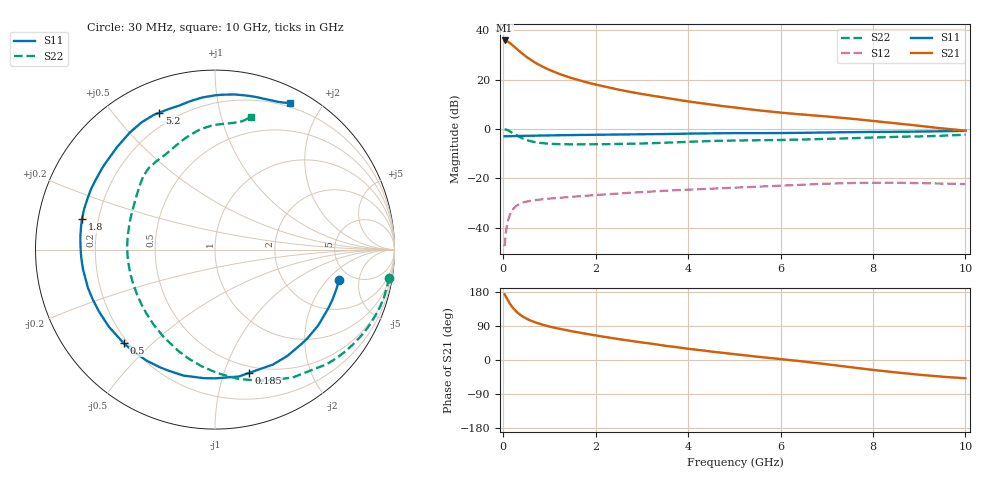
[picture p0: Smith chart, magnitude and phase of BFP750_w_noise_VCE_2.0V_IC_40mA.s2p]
! Infineon Technologies  Discrete & RF Semiconductors
! BFP750
! VCE =  2.0 V,  IC =  40 mA
! Common Emitter S-Parameters:  Jan 2016
# GHz  S  MA  R  50
!  f  S11  S21  S12  S22
! GHz  MAG  ANG  MAG  ANG  MAG  ANG  MAG  ANG
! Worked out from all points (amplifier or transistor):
!   229 points, 30 MHz to 10 GHz, reference 50 ohm
!   highest |S21| = 35.9 dB at 30 MHz (marker M1)
!   |S21| within 3 dB of that: start of sweep to 267.9 MHz
!   unconditionally stable (mu >= 1): 4.169 GHz to end of sweep
!   at 280 MHz: K = 0.15, MSG = 32.0 dB, |S12| = -31.3 dB
!   at 1.78 GHz: K = 0.66, MSG = 23.1 dB, |S12| = -27.1 dB
!   at 10 GHz: K = 1.06, MAG = 9.3 dB, |S12| = -22.4 dB
!   lowest NFmin = 0.94 dB at 450 MHz
!   S11 on the Smith chart (normalised r, x): 30 MHz: 4.00, -2.74; 185 MHz: 0.44, -1.22; 500 MHz: 0.18, -0.41; 1.8 GHz: 0.14, +0.11; 5.2 GHz: 0.14, +0.66; 10 GHz: 0.16, +1.62
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0.03  0.7124 -13.7  62.44 173.1  0.0042 84.6  0.9819 -9.2
0.06  0.7109 -27.2  61.79 166.1  0.0084 78.4  0.9733 -19.0
0.1  0.7139 -44.3  59.2 157.4  0.0134 70.0  0.9422 -31.5
0.15  0.7173 -63.2  55.04 147.6  0.0186 61.8  0.8906 -45.9
0.185  0.7128 -74.6  51.58 141.7  0.0214 56.6  0.8464 -54.7
0.2  0.7194 -79.4  50.27 139.0  0.0227 54.8  0.834 -58.7
0.26  0.719 -94.9  44.89 131.0  0.0264 47.9  0.7684 -71.9
0.34  0.7228 -111.6  38.48 121.9  0.0297 40.9  0.6964 -86.9
0.4  0.7266 -121.5  34.49 116.3  0.0316 37.1  0.6544 -96.5
0.5  0.7287 -134.3  29.13 109.1  0.0337 32.5  0.601 -109.8
0.7  0.7326 -151.6  21.91 98.9  0.0362 27.0  0.5396 -129.5
0.9  0.7391 -163.1  17.42 91.5  0.038 24.2  0.5106 -143.5
1.2  0.746 -175.6  13.24 82.8  0.0401 21.9  0.4934 -158.5
1.7  0.758 169.6  9.402 71.1  0.0436 20.1  0.4885 -175.3
1.8  0.7599 167.2  8.864 68.9  0.0443 19.8  0.4888 -178.1
2.6  0.7698 150.0  5.994 53.3  0.0498 17.2  0.4982 163.0
3.4  0.7857 135.6  4.438 39.6  0.0552 13.7  0.5214 148.7
5.1  0.8239 113.3  2.657 14.1  0.0652 5.3  0.586 128.0
5.2  0.8237 112.2  2.591 12.8  0.0657 4.8  0.5868 126.9
6.8  0.8448 96.7  1.855 -8.2  0.0762 -5.2  0.6219 109.8
8.4  0.8771 77.7  1.333 -31.4  0.0812 -19.8  0.69 91.9
10  0.9168 63.0  0.926 -48.1  0.0762 -30.9  0.7671 74.8
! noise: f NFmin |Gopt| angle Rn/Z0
0.45  0.94  0.16  -166  0.41
0.9  0.96  0.2  -161  0.2
1.5  0.98  0.29  -157  0.08
1.9  0.99  0.31  -152  0.07
2.4  1  0.32  -145  0.08
3.5  1.23  0.35  -131  0.09
